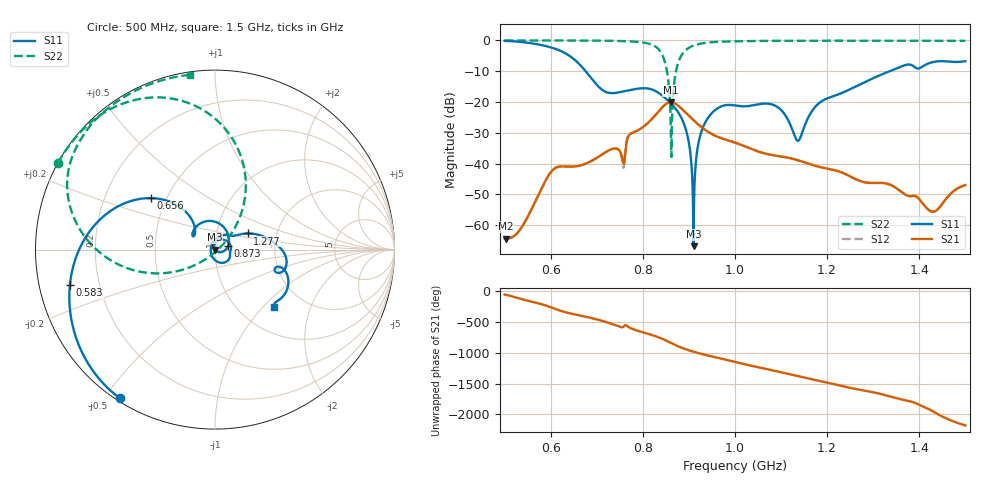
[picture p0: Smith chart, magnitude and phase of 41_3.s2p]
! TOUCHSTONE file generated by CST MICROWAVE STUDIO
! Date and time: Fri Oct  2 16:34:01 2020
! Project name: Scenario_1_Free_Space_out_of_line.cst
! Parameters = {Lambda=346.42; Step_1=17.321; dy1=-346; dx1=520; L_HA=400; MT=2.54; Rad_Dielectric=30; Rad_Lower=7.3; Rad_Upper=30; a_HA=580; a_WG=246; b_HA=500; b_WG=121; c_HA=0; c_WG=187; d_feed=85; h_feed=15; h_lower=18; h_upper=40}
! Header version: 2018
! Port assignment regex: !\s*Touchstone port\s*([0-9]+)\s*=\s*(CST MWS port|CST DS port)\s*([0-9]+|Zmin|Zmax)\s*\(\"(.*)\"\)(\s*mode\s*([0-9]+))?.*
! Touchstone port assignment:
! Touchstone port 1 = CST MWS port 1 ("")
! Touchstone port 2 = CST MWS port 2 ("")
# GHz S DB R 50
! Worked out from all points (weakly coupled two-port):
!   1003 points, 500 MHz to 1.5 GHz, reference 50 ohm
!   highest |S21| = -20.11 dB at 861 MHz (marker M1); lowest = -64.4 dB at 502 MHz (marker M2)
!   lowest |S11| = -66.8 dB at 910 MHz (marker M3), VSWR 1.00, Z = 50 - j0.0148 ohm
!   |S11| at or under -10 dB: 676 MHz to 1.336 GHz (659.6 MHz wide, 65.6 % of centre)
!   |S22| runs from -37.9 to 0.0 dB; largest |S21 - S12| = 0.0029
!   S11 on the Smith chart (normalised r, x): 500 MHz: 0.01, -0.55; 583 MHz: 0.09, -0.12; 656 MHz: 0.41, +0.30; 873 MHz: 1.15, +0.04; 1.277 GHz: 1.42, +0.27; 1.5 GHz: 1.42, -1.16
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0.5  -0.15 -122.5  -64.35 -50.4  -64.35 -50.4  -0.01 151.2
0.502  -0.16 -123.4  -64.36 -53.6  -64.36 -53.6  -0.01 151.0
0.583  -1.60 -166.3  -47.25 146.5  -47.24 146.6  -0.02 145.4
0.656  -6.81 141.1  -40.87 -19.3  -40.86 -19.4  -0.04 139.5
0.667  -8.46 134.1  -40.51 -36.8  -40.50 -36.9  -0.04 138.4
0.757  -16.59 148.0  -39.32 140.1  -40.93 144.1  -0.22 126.4
0.77  -16.18 143.7  -30.79 136.9  -30.59 135.5  -0.30 123.6
0.834  -17.02 74.8  -23.07 -25.7  -23.07 -25.7  -2.84 89.2
0.85  -18.93 51.0  -20.68 -77.0  -20.68 -77.0  -8.24 63.7
0.861  -20.50 34.5  -20.11 -117.4  -20.11 -117.4  -30.63 21.7
0.873  -22.56 15.0  -20.80 -160.3  -20.80 -160.3  -9.26 -157.4
0.896  -30.42 -29.2  -23.89 132.0  -23.89 132.0  -2.79 174.7
0.91  -66.84 -161.0  -25.93 98.7  -25.93 98.7  -1.67 165.3
0.935  -26.77 79.9  -29.04 48.7  -29.04 48.7  -0.81 154.6
1  -21.13 -0.7  -33.20 -66.3  -33.20 -66.3  -0.29 140.8
1.089  -21.34 -59.0  -37.44 144.0  -37.44 144.0  -0.13 131.0
1.136  -32.63 179.0  -38.90 62.0  -38.90 62.0  -0.11 126.9
1.167  -22.96 75.7  -40.41 10.0  -40.41 10.0  -0.10 124.4
1.277  -13.85 26.3  -45.92 -168.0  -45.92 -168.0  -0.08 116.0
1.334  -10.09 9.8  -46.72 96.6  -46.72 96.6  -0.09 111.7
1.429  -7.04 -23.1  -55.64 -147.7  -55.64 -147.7  -0.11 104.2
1.5  -6.74 -44.4  -46.97 -20.4  -46.97 -20.4  -0.14 98.2
